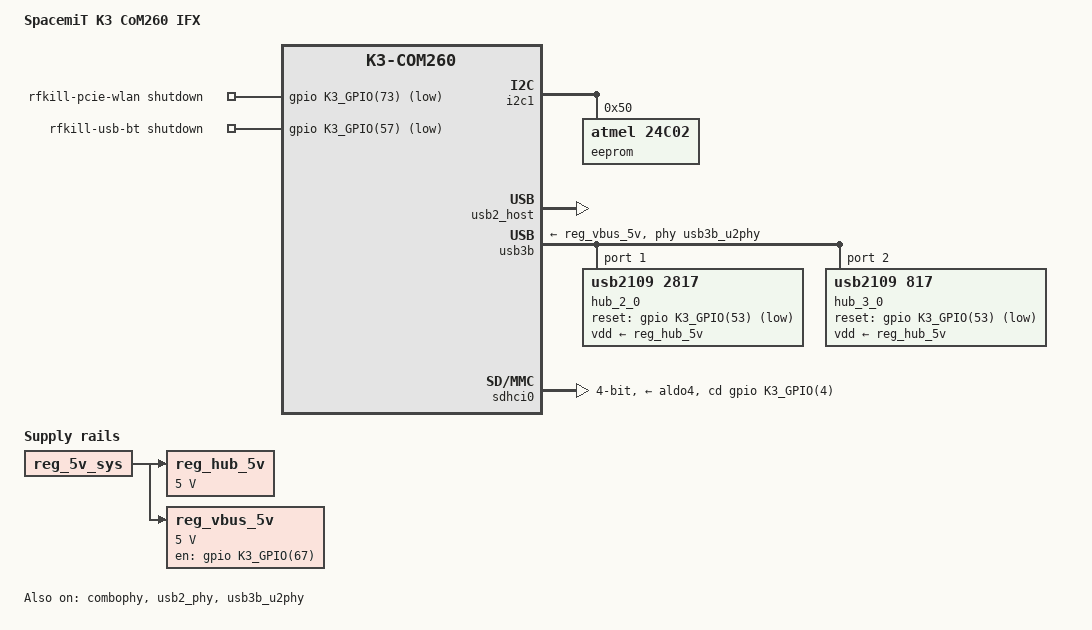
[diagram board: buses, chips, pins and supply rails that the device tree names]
// SPDX-License-Identifier: (GPL-2.0 OR MIT)
/*
 * Copyright (c) 2026 SpacemiT (Hangzhou) Technology Co. Ltd
 * Copyright (c) 2026 Yixun Lan <dlan@kernel.org>
 */
#include <dt-bindings/phy/phy.h>

#include "k3-com260.dtsi"

/ {
	model = "SpacemiT K3 CoM260 IFX";
	compatible = "spacemit,k3-com260-ifx", "spacemit,k3-com260", "spacemit,k3";

	aliases {
		serial0 = &uart0;
		ethernet0 = &eth1;
	};

	chosen {
		stdout-path = "serial0:115200n8";
	};

	reg_hub_5v: regulator-usb3-hub-5v {
		compatible = "regulator-fixed";
		regulator-name = "USB30_HUB";
		regulator-min-microvolt = <5000000>;
		regulator-max-microvolt = <5000000>;
		regulator-boot-on;
		regulator-always-on;
		vin-supply = <&reg_5v_sys>;
	};

	reg_vbus_5v: regulator-usb3-vbus-5v {
		compatible = "regulator-fixed";
		regulator-name = "USB30_VBUS";
		regulator-min-microvolt = <5000000>;
		regulator-max-microvolt = <5000000>;
		vin-supply = <&reg_5v_sys>;
		gpio = <&gpio K3_GPIO(67) GPIO_ACTIVE_HIGH>;
		enable-active-high;
	};

	rfkill-pcie-wlan {
		compatible = "rfkill-gpio";
		label = "rfkill-pcie-wlan";
		radio-type = "wlan";
		shutdown-gpios = <&gpio K3_GPIO(73) GPIO_ACTIVE_LOW>;
	};

	rfkill-usb-bt {
		compatible = "rfkill-gpio";
		label = "rfkill-usb-bt";
		radio-type = "bluetooth";
		shutdown-gpios = <&gpio K3_GPIO(57) GPIO_ACTIVE_LOW>;
	};
};

&combophy {
	spacemit,apmu = <&syscon_apmu 0x14>;
	status = "okay";
};

&i2c1 {
	pinctrl-names = "default";
	pinctrl-0 = <&i2c1_1_cfg>;
	status = "okay";

	eeprom@50 {
		compatible = "atmel,24c02";
		pagesize = <8>;
		reg = <0x50>;
		read-only;
		size = <256>;
		status = "okay";
	};
};

&usb2_host {
	status = "okay";
};

&usb2_phy {
	status = "okay";
};

&usb3b {
	phys = <&usb3b_u2phy>, <&combophy 2 PHY_TYPE_USB3>;
	phy-names = "usb2-phy", "usb3-phy";
	status = "okay";
	vbus-supply = <&reg_vbus_5v>;
	#address-cells = <1>;
	#size-cells = <0>;

	hub_2_0: hub@1 {
		compatible = "usb2109,2817";
		reg = <1>;
		vdd-supply = <&reg_hub_5v>;
		peer-hub = <&hub_3_0>;
		reset-gpios = <&gpio K3_GPIO(53) GPIO_ACTIVE_LOW>;
	};

	hub_3_0: hub@2 {
		compatible = "usb2109,817";
		reg = <2>;
		vdd-supply = <&reg_hub_5v>;
		peer-hub = <&hub_2_0>;
		reset-gpios = <&gpio K3_GPIO(53) GPIO_ACTIVE_LOW>;
	};
};

&usb3b_u2phy {
	status = "okay";
};

&sdhci0 {
	pinctrl-names = "default","uhs";
	pinctrl-0 = <&mmc1_cfg>;
	pinctrl-1 = <&mmc1_uhs_cfg>;
	bus-width = <4>;
	cd-gpios = <&gpio K3_GPIO(4) GPIO_ACTIVE_HIGH>;
	no-mmc;
	no-sdio;
	disable-wp;
	cap-sd-highspeed;
	vmmc-supply = <&aldo4>;
	vqmmc-supply = <&aldo1>;
	sd-uhs-sdr25;
	sd-uhs-sdr50;
	sd-uhs-sdr104;
	status = "okay";
};
